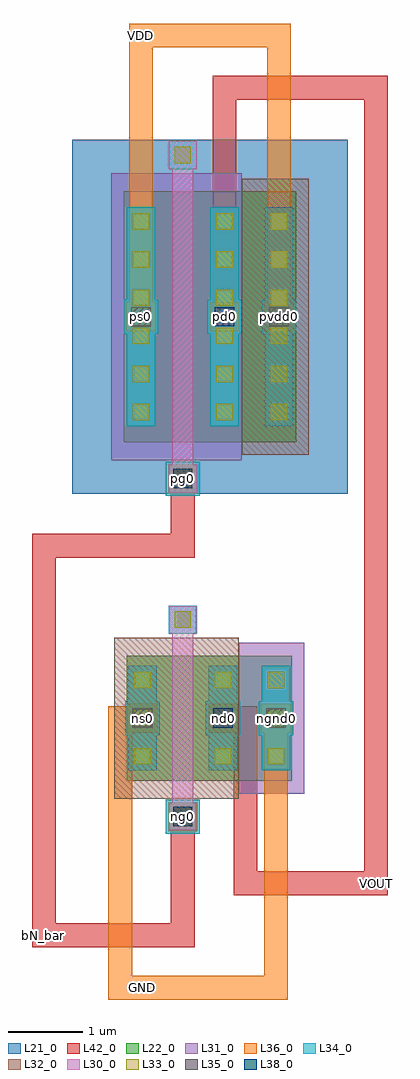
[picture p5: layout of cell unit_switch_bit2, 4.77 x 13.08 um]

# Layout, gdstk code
import gdstk
lib = gdstk.Library(unit=1e-6, precision=1e-09)
def R(c, l, rs):  # rectangles x0, y0, x1, y1
    for r in rs: c.add(gdstk.rectangle(r[:2], r[2:], *l))
def A(c, l, x, y, w, h, nx, ny, dx, dy):  # array of equal rectangles
    R(c, l, [(x+i*dx, y+j*dy, x+i*dx+w, y+j*dy+h) for i in range(nx) for j in range(ny)])
L21_0 = (21, 0)
L22_0 = (22, 0)
L30_0 = (30, 0)
L31_0 = (31, 0)
L32_0 = (32, 0)
L33_0 = (33, 0)
L34_0 = (34, 0)
L35_0 = (35, 0)
L36_0 = (36, 0)
L38_0 = (38, 0)
L42_0 = (42, 0)

unit_switch_bit2 = lib.new_cell('unit_switch_bit2')
R(unit_switch_bit2, L21_0, [(-1.15,-0.69,2.54,4.05)])
R(unit_switch_bit2, L22_0, [(-0.42,-4.54,0,-2.86), (0,-4.54,0.66,-2.86), (0.66,-4.54,1.08,-2.86), (1.08,-4.54,1.79,-2.86), (-0.46,0,0,3.36), (0,0,0.66,3.36), (0.66,0,1.12,3.36), (1.12,0,1.85,3.36)])
R(unit_switch_bit2, L30_0, [(0.15,-5.2,0.51,-4.84), (0.19,-4.84,0.47,-2.56), (0.15,-2.56,0.51,-2.2), (0.14,-0.68,0.52,-0.3), (0.19,-0.3,0.47,3.66), (0.14,3.66,0.52,4.04)])
R(unit_switch_bit2, L31_0, [(1.08,-4.71,1.96,-2.69), (-0.63,-0.24,1.12,3.6)])
R(unit_switch_bit2, L32_0, [(-0.59,-4.78,1.08,-2.62), (1.12,-0.17,2.02,3.53)])
A(unit_switch_bit2, L33_0, -0.32, -4.32, 0.22, 0.22, 1, 3, 0, 0.51)
A(unit_switch_bit2, L33_0, 0.76, -4.32, 0.22, 0.22, 1, 3, 0, 0.51)
A(unit_switch_bit2, L33_0, 1.47, -4.32, 0.22, 0.22, 1, 3, 0, 0.51)
A(unit_switch_bit2, L33_0, -0.34, 0.295, 0.22, 0.22, 1, 6, 0, 0.51)
A(unit_switch_bit2, L33_0, 0.78, 0.295, 0.22, 0.22, 1, 6, 0, 0.51)
A(unit_switch_bit2, L33_0, 1.51, 0.295, 0.22, 0.22, 1, 6, 0, 0.51)
R(unit_switch_bit2, L33_0, [(0.22,-5.13,0.44,-4.91), (0.22,-2.49,0.44,-2.27), (0.22,-0.6,0.44,-0.38), (0.22,3.74,0.44,3.96)])
R(unit_switch_bit2, L34_0, [(0.1,-5.25,0.56,-4.79), (0.14,-5.21,0.52,-4.83), (-0.4,-4.4,-0.02,-3), (0.68,-4.4,1.06,-3), (1.39,-4.4,1.77,-3), (-0.44,-3.93,0.02,-3.47), (0.64,-3.93,1.1,-3.47), (1.35,-3.93,1.81,-3.47), (0.14,-2.57,0.52,-2.19), (0.1,-0.72,0.56,-0.26), (0.14,-0.68,0.52,-0.3), (-0.42,0.215,-0.04,3.145), (0.7,0.215,1.08,3.145), (1.43,0.215,1.81,3.145), (-0.46,1.45,0,1.91), (0.66,1.45,1.12,1.91), (1.39,1.45,1.85,1.91), (0.14,3.66,0.52,4.04)])
R(unit_switch_bit2, L35_0, [(0.2,-5.15,0.46,-4.89), (-0.34,-3.83,-0.08,-3.57), (0.74,-3.83,1,-3.57), (1.45,-3.83,1.71,-3.57), (0.2,-0.62,0.46,-0.36), (-0.36,1.55,-0.1,1.81), (0.76,1.55,1.02,1.81), (1.49,1.55,1.75,1.81)])
R(unit_switch_bit2, L36_0, [(-0.67,-7.47,-0.05,-7.15), (-0.67,-7.47,-0.35,-3.54), (-0.37,-7.47,1.74,-7.15), (1.42,-7.47,1.74,-3.54), (0.135,-5.215,0.525,-4.825), (-0.405,-3.895,-0.015,-3.505), (0.675,-3.895,1.065,-3.505), (1.385,-3.895,1.775,-3.505), (-0.67,-3.86,-0.05,-3.54), (0.135,-0.685,0.525,-0.295), (-0.425,1.485,-0.035,1.875), (0.695,1.485,1.085,1.875), (1.425,1.485,1.815,1.875), (-0.39,1.52,-0.07,5.61), (1.46,1.52,1.78,5.61), (-0.39,5.29,-0.07,5.61), (-0.39,5.29,1.78,5.61)])
R(unit_switch_bit2, L38_0, [(0.2,-5.15,0.46,-4.89), (0.74,-3.83,1,-3.57), (0.2,-0.62,0.46,-0.36), (0.76,1.55,1.02,1.81)])
R(unit_switch_bit2, L42_0, [(-1.69,-6.77,0.49,-6.45), (-1.69,-6.77,-1.37,-1.23), (0.17,-6.77,0.49,-4.86), (1.01,-6.07,1.33,-3.54), (1.01,-6.07,3.08,-5.75), (2.76,-6.07,3.08,4.91), (0.135,-5.215,0.525,-4.825), (0.675,-3.895,1.065,-3.505), (0.71,-3.86,1.33,-3.54), (-1.69,-1.55,0.49,-1.23), (0.17,-1.55,0.49,-0.33), (0.135,-0.685,0.525,-0.295), (0.695,1.485,1.085,1.875), (0.73,1.52,1.05,4.91), (0.73,4.59,3.08,4.91)])
unit_switch_bit2.add(gdstk.Label('ps0', (-0.23,1.68), layer=34, texttype=10))
unit_switch_bit2.add(gdstk.Label('pd0', (0.89,1.68), layer=34, texttype=10))
unit_switch_bit2.add(gdstk.Label('pg0', (0.33,-0.49), layer=34, texttype=10))
unit_switch_bit2.add(gdstk.Label('pvdd0', (1.62,1.68), layer=34, texttype=10))
unit_switch_bit2.add(gdstk.Label('ns0', (-0.21,-3.701), layer=34, texttype=10))
unit_switch_bit2.add(gdstk.Label('nd0', (0.87,-3.701), layer=34, texttype=10))
unit_switch_bit2.add(gdstk.Label('ng0', (0.33,-5.021), layer=34, texttype=10))
unit_switch_bit2.add(gdstk.Label('ngnd0', (1.58,-3.701), layer=34, texttype=10))
unit_switch_bit2.add(gdstk.Label('VDD', (-0.23,5.45), layer=34, texttype=10))
unit_switch_bit2.add(gdstk.Label('GND', (-0.21,-7.312), layer=34, texttype=10))
unit_switch_bit2.add(gdstk.Label('VOUT', (2.92,-5.912), layer=34, texttype=10))
unit_switch_bit2.add(gdstk.Label('bN_bar', (-1.53,-6.612), layer=34, texttype=10))

lib.write_gds('unit_switch_bit2.gds')
